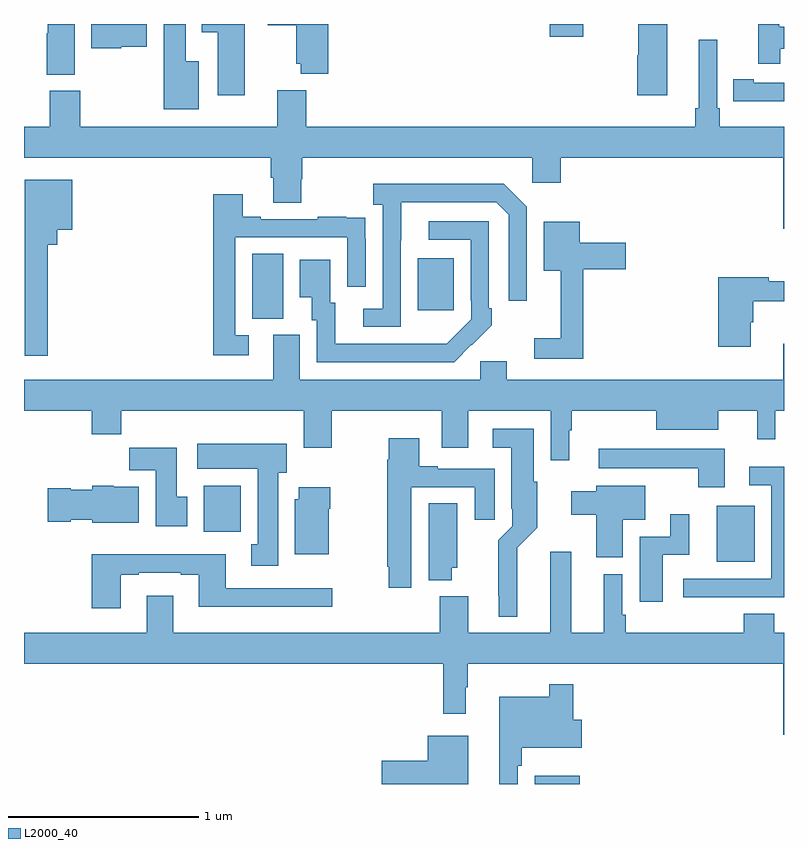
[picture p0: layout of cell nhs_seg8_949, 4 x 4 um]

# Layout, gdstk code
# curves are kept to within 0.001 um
import gdstk
lib = gdstk.Library(unit=1e-6, precision=1e-09)
def R(c, l, rs):  # rectangles x0, y0, x1, y1
    for r in rs: c.add(gdstk.rectangle(r[:2], r[2:], *l))
def P(c, l, *ps):  # polygons
    for p in ps: c.add(gdstk.Polygon(p, *l))
L2000_40 = (2000, 40)

nhs_seg8_949 = lib.new_cell('nhs_seg8_949')
R(nhs_seg8_949, L2000_40, [(175.688,1083.9,175.924,1083.943), (176.645,1085.069,176.845,1085.365), (173.945,1085.228,174.142,1085.47), (174.2,1086.349,174.364,1086.692), (175.073,1086.393,175.261,1086.667), (175.766,1087.833,175.944,1087.9)])
P(nhs_seg8_949, L2000_40, [(173.92,1087.705),(173.851,1087.705),(173.851,1087.9),(173.735,1087.9),(173.735,1087.451),(173.92,1087.451)],
  [(173.511,1087.781),(173.647,1087.781),(173.647,1087.9),(173.354,1087.9),(173.354,1087.772),(173.511,1087.772)],
  [(174.163,1087.9),(173.936,1087.9),(173.936,1087.856),(174.02,1087.856),(174.02,1087.524),(174.163,1087.524)],
  [(176.386,1087.9),(176.233,1087.9),(176.233,1087.736),(176.228,1087.736),(176.228,1087.524),(176.386,1087.524)],
  [(176.981,1087.77),(177,1087.77),(177,1087.886),(176.974,1087.886),(176.974,1087.9),(176.864,1087.9),(176.864,1087.692),(176.981,1087.692)],
  [(174.602,1087.9),(174.282,1087.9),(174.282,1087.894),(174.434,1087.894),(174.434,1087.691),(174.457,1087.691),(174.457,1087.637),(174.602,1087.637)],
  [(173.266,1087.9),(173.125,1087.9),(173.125,1087.851),(173.12,1087.851),(173.12,1087.633),(173.266,1087.633)],
  [(177,1087.36),(176.663,1087.36),(176.663,1087.456),(176.649,1087.456),(176.649,1087.816),(176.552,1087.816),(176.552,1087.456),(176.533,1087.456),(176.533,1087.36),(174.485,1087.36),(174.485,1087.552),(174.332,1087.552),(174.332,1087.36),(173.295,1087.36),(173.295,1087.548),(173.135,1087.548),(173.135,1087.36),(173,1087.36),(173,1087.196),(174.299,1087.196),(174.299,1087.09),(174.311,1087.09),(174.311,1086.958),(174.459,1086.958),(174.459,1087.083),(174.464,1087.083),(174.464,1087.196),(175.674,1087.196),(175.674,1087.065),(175.826,1087.065),(175.826,1087.196),(176.996,1087.196),(176.996,1086.822),(177,1086.822)],
  [(177,1087.59),(176.842,1087.59),(176.842,1087.61),(176.734,1087.61),(176.734,1087.494),(176.842,1087.494),(176.842,1087.493),(177,1087.493)],
  [(173.125,1086.737),(173.174,1086.737),(173.174,1086.818),(173.254,1086.818),(173.254,1087.081),(173.003,1087.081),(173.003,1086.153),(173.125,1086.153)],
  [(174.984,1086.763),(174.985,1086.963),(175.485,1086.963),(175.551,1086.897),(175.551,1086.444),(175.647,1086.444),(175.647,1086.939),(175.526,1087.06),(174.837,1087.06),(174.837,1086.95),(174.888,1086.95),(174.888,1086.402),(174.786,1086.402),(174.786,1086.306),(174.984,1086.306)],
  [(174.184,1086.261),(174.111,1086.261),(174.111,1086.777),(174.702,1086.777),(174.702,1086.516),(174.798,1086.516),(174.798,1086.77),(174.797,1086.77),(174.797,1086.879),(174.695,1086.879),(174.695,1086.886),(174.547,1086.886),(174.547,1086.873),(174.247,1086.873),(174.247,1086.886),(174.151,1086.886),(174.151,1087.003),(173.995,1087.003),(173.995,1086.156),(174.184,1086.156)],
  [(175.355,1086.211),(175.356,1086.21),(175.461,1086.315),(175.461,1086.403),(175.446,1086.403),(175.446,1086.861),(175.131,1086.861),(175.131,1086.765),(175.35,1086.765),(175.35,1086.445),(175.353,1086.445),(175.353,1086.345),(175.225,1086.217),(174.637,1086.216),(174.637,1086.432),(174.613,1086.432),(174.613,1086.658),(174.452,1086.658),(174.452,1086.461),(174.515,1086.461),(174.515,1086.342),(174.54,1086.342),(174.54,1086.12),(175.264,1086.12)],
  [(175.943,1086.608),(176.167,1086.608),(176.167,1086.75),(175.924,1086.75),(175.924,1086.859),(175.736,1086.859),(175.736,1086.602),(175.826,1086.602),(175.826,1086.247),(175.686,1086.247),(175.686,1086.138),(175.943,1086.138)],
  [(176.824,1086.33),(176.837,1086.33),(176.837,1086.442),(177,1086.442),(177,1086.545),(176.92,1086.545),(176.92,1086.568),(176.654,1086.568),(176.654,1086.201),(176.824,1086.201)],
  [(175.87,1085.761),(175.882,1085.761),(175.882,1085.864),(176.327,1085.864),(176.327,1085.765),(176.653,1085.765),(176.653,1085.864),(176.858,1085.864),(176.858,1085.715),(176.955,1085.715),(176.955,1085.864),(177,1085.864),(177,1086.217),(176.996,1086.217),(176.996,1086.028),(175.54,1086.028),(175.54,1086.126),(175.401,1086.126),(175.401,1086.028),(174.451,1086.028),(174.451,1086.264),(174.311,1086.264),(174.311,1086.028),(173,1086.028),(173,1085.864),(173.357,1085.864),(173.357,1085.74),(173.513,1085.74),(173.513,1085.864),(174.473,1085.864),(174.473,1085.67),(174.621,1085.67),(174.621,1085.864),(175.199,1085.864),(175.199,1085.67),(175.339,1085.67),(175.339,1085.864),(175.773,1085.864),(175.773,1085.604),(175.87,1085.604)],
  [(175.597,1085.144),(175.702,1085.25),(175.702,1085.49),(175.684,1085.49),(175.684,1085.77),(175.467,1085.77),(175.467,1085.669),(175.565,1085.669),(175.565,1085.35),(175.569,1085.35),(175.569,1085.256),(175.495,1085.182),(175.495,1084.891),(175.499,1084.891),(175.499,1084.781),(175.597,1084.781)],
  [(175.039,1085.463),(175.373,1085.463),(175.373,1085.292),(175.477,1085.292),(175.477,1085.559),(175.177,1085.559),(175.177,1085.572),(175.081,1085.572),(175.081,1085.719),(174.92,1085.719),(174.92,1085.606),(174.913,1085.606),(174.913,1085.044),(174.92,1085.044),(174.92,1084.932),(175.039,1084.932)],
  [(174.337,1085.538),(174.382,1085.538),(174.382,1085.692),(173.913,1085.692),(173.913,1085.558),(174.23,1085.558),(174.23,1085.162),(174.197,1085.162),(174.197,1085.049),(174.337,1085.049)],
  [(173.86,1085.412),(173.803,1085.412),(173.803,1085.671),(173.554,1085.671),(173.554,1085.552),(173.693,1085.552),(173.693,1085.256),(173.86,1085.256)],
  [(176.689,1085.665),(176.025,1085.665),(176.025,1085.561),(176.549,1085.561),(176.549,1085.463),(176.689,1085.463)],
  [(176.705,1084.884),(177,1084.884),(177,1085.569),(176.817,1085.569),(176.817,1085.472),(176.934,1085.472),(176.934,1084.98),(176.469,1084.98),(176.469,1084.883),(176.705,1084.883)],
  [(173.605,1085.464),(173.472,1085.464),(173.472,1085.47),(173.358,1085.47),(173.358,1085.449),(173.247,1085.449),(173.247,1085.457),(173.124,1085.457),(173.124,1085.279),(173.247,1085.279),(173.247,1085.291),(173.358,1085.291),(173.358,1085.276),(173.605,1085.276)],
  [(176.152,1085.291),(176.269,1085.291),(176.269,1085.47),(176.012,1085.47),(176.012,1085.44),(175.881,1085.44),(175.881,1085.318),(176.012,1085.318),(176.012,1085.094),(176.152,1085.094)],
  [(174.604,1085.348),(174.612,1085.348),(174.612,1085.461),(174.446,1085.461),(174.446,1085.4),(174.425,1085.4),(174.425,1085.108),(174.604,1085.108)],
  [(175.252,1085.037),(175.279,1085.037),(175.279,1085.378),(175.13,1085.378),(175.13,1084.973),(175.252,1084.973)],
  [(176.362,1085.106),(176.5,1085.106),(176.5,1085.32),(176.402,1085.32),(176.402,1085.202),(176.24,1085.202),(176.24,1084.86),(176.362,1084.86)],
  [(177,1084.696),(176.949,1084.696),(176.949,1084.795),(176.789,1084.795),(176.789,1084.696),(176.168,1084.696),(176.168,1084.792),(176.148,1084.792),(176.148,1085.005),(176.051,1085.005),(176.051,1084.696),(175.879,1084.696),(175.879,1085.122),(175.769,1085.122),(175.769,1084.696),(175.339,1084.696),(175.339,1084.888),(175.187,1084.888),(175.187,1084.696),(173.785,1084.696),(173.785,1084.891),(173.645,1084.891),(173.645,1084.696),(173,1084.696),(173,1084.532),(175.207,1084.532),(175.207,1084.269),(175.324,1084.269),(175.324,1084.409),(175.336,1084.409),(175.336,1084.532),(176.996,1084.532),(176.996,1084.158),(177,1084.158)],
  [(173.509,1085.001),(173.605,1085.001),(173.605,1085.013),(173.825,1085.013),(173.825,1085.001),(173.921,1085.001),(173.921,1084.832),(174.622,1084.832),(174.622,1084.929),(174.061,1084.929),(174.061,1085.11),(173.357,1085.11),(173.357,1084.824),(173.509,1084.824)],
  [(175.599,1083.995),(175.619,1083.995),(175.619,1084.091),(175.936,1084.091),(175.936,1084.239),(175.892,1084.239),(175.892,1084.426),(175.764,1084.426),(175.764,1084.36),(175.502,1084.36),(175.502,1083.9),(175.599,1083.9)],
  [(175.339,1084.153),(175.124,1084.153),(175.124,1084.022),(174.882,1084.022),(174.882,1083.9),(175.339,1083.9)])

lib.write_gds('nhs_seg8_949.gds')
